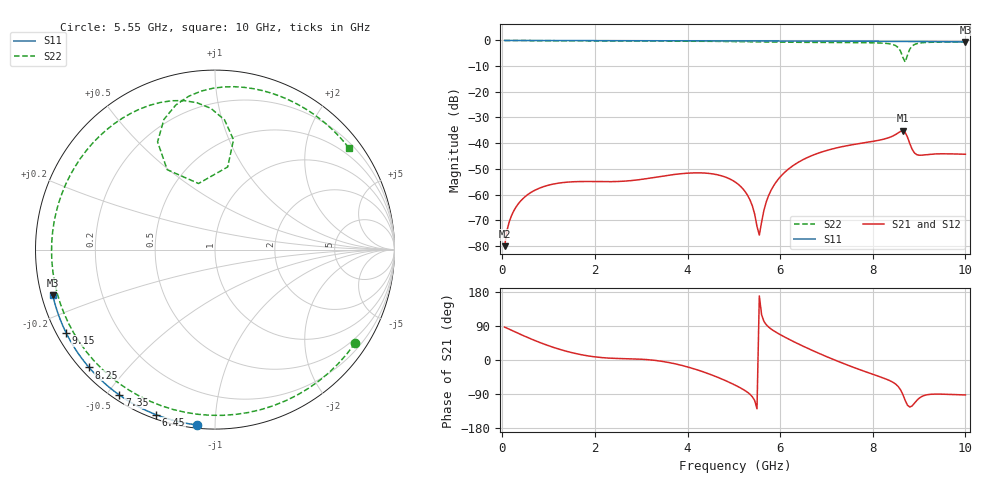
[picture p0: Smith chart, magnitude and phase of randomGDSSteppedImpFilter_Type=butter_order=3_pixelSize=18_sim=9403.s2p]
! freq	dB(S11)	phase(S11)	dB(S12)	phase(S12)
!  dB(S21)	phase(S21)	dB(S22)	phase(S22)
!S-par simulation data
#  GHz  S  DB  R 50
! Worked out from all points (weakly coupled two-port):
!   200 points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, 50 MHz to 10 GHz, reference 50 ohm
!   highest |S21| = -35.15 dB at 8.65 GHz (marker M1); lowest = -80.1 dB at 50 MHz (marker M2)
!   lowest |S11| = -0.5 dB at 10 GHz (marker M3), VSWR 31.62, Z = 1.61 - j6.89 ohm
!   |S11| at or under -10 dB: nowhere
!   |S22| runs from -8.4 to 0.0 dB; largest |S21 - S12| = 0
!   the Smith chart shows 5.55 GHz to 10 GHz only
!   S11 on the Smith chart (normalised r, x): 5.55 GHz: 0.02, -0.90; 6.45 GHz: 0.02, -0.70; 7.35 GHz: 0.02, -0.54; 8.25 GHz: 0.02, -0.39; 9.15 GHz: 0.03, -0.26; 10 GHz: 0.03, -0.14
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0.05  -0.00 -0.9  -80.12 86.6  -80.12 86.6  -0.00 -4.9
0.15  -0.00 -2.8  -70.62 81.3  -70.62 81.3  -0.02 -14.7
0.3  -0.01 -5.6  -64.78 72.8  -64.78 72.8  -0.05 -29.0
0.85  -0.02 -15.7  -57.19 44.4  -57.19 44.4  -0.09 -77.9
1.75  -0.04 -32.1  -54.93 12.9  -54.93 12.9  -0.13 -142.0
2.55  -0.06 -46.3  -54.88 3.8  -54.88 3.8  -0.16 171.7
3.4  -0.08 -60.9  -53.02 -2.7  -53.02 -2.7  -0.20 124.3
4.25  -0.11 -75.0  -51.56 -27.6  -51.56 -27.6  -0.29 71.0
5.05  -0.14 -87.9  -55.40 -67.6  -55.40 -67.6  -0.44 9.8
5.35  -0.15 -92.7  -62.16 -90.6  -62.16 -90.6  -0.51 -16.0
5.55  -0.16 -95.8  -75.79 169.2  -75.79 169.2  -0.55 -33.7
5.7  -0.16 -98.2  -62.87 93.1  -62.87 93.1  -0.59 -47.2
5.85  -0.17 -100.5  -56.86 78.0  -56.86 78.0  -0.62 -60.7
6.45  -0.21 -109.7  -46.84 39.1  -46.84 39.1  -0.73 -113.0
6.7  -0.22 -113.5  -44.73 25.0  -44.73 25.0  -0.76 -133.5
7.35  -0.27 -123.3  -41.32 -8.4  -41.32 -8.4  -0.81 177.3
8.25  -0.35 -136.9  -38.38 -48.6  -38.38 -48.6  -1.09 114.3
8.35  -0.36 -138.4  -37.83 -53.5  -37.83 -53.5  -1.27 106.2
8.65  -0.38 -143.0  -35.15 -91.1  -35.15 -91.1  -6.64 81.3
8.8  -0.40 -145.3  -40.18 -124.2  -40.18 -124.2  -3.35 118.1
9.15  -0.44 -150.7  -44.49 -92.3  -44.49 -92.3  -0.78 83.2
10  -0.55 -164.3  -44.32 -92.2  -44.32 -92.2  -0.57 37.0
